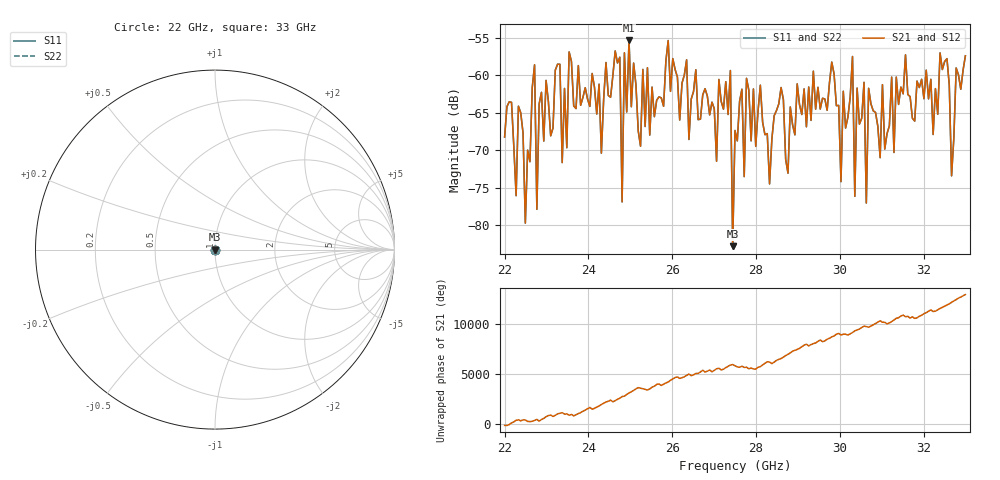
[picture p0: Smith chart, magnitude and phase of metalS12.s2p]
!Keysight Technologies,N5224B,MY57181201,A.12.70.07
!Date: Friday, July 15, 2022 12:02:34
!Correction: S11(Response(S12))
!S21(Response(S12))
!S12(Response(S12))
!S22(Response(S12))
!S2P File: Measurements: S11, S21, S12, S22:
# Hz S  dB  R 50
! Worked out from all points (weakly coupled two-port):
!   201 points, 22 GHz to 33 GHz, reference 50 ohm
!   highest |S21| = -55.32 dB at 24.97 GHz (marker M1); lowest = -82.8 dB at 27.45 GHz (marker M2)
!   lowest |S11| = -82.8 dB at 27.45 GHz (marker M3), VSWR 1.00, Z = 50 + j0.00198 ohm
!   |S11| at or under -10 dB: start of sweep to end of sweep
!   |S22| runs from -82.8 to -55.3 dB; largest |S21 - S12| = 0
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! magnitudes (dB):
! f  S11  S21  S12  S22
! 22 GHz  -68.2  -68.2  -68.2  -68.2
! 22.5 GHz  -79.7  -79.7  -79.7  -79.7
! 22.71 GHz  -58.6  -58.6  -58.6  -58.6
! 22.77 GHz  -77.9  -77.9  -77.9  -77.9
! 22.99 GHz  -60.7  -60.7  -60.7  -60.7
! 23.87 GHz  -62.9  -62.9  -62.9  -62.9
! 24.75 GHz  -57.6  -57.6  -57.6  -57.6
! 24.8 GHz  -76.9  -76.9  -76.9  -76.9
! 24.97 GHz  -55.3  -55.3  -55.3  -55.3
! 25.68 GHz  -62.9  -62.9  -62.9  -62.9
! 27.39 GHz  -59.3  -59.3  -59.3  -59.3
! 27.45 GHz  -82.8  -82.8  -82.8  -82.8
! 27.5 GHz  -67.3  -67.3  -67.3  -67.3
! 29.37 GHz  -59.4  -59.4  -59.4  -59.4
! 30.03 GHz  -74.2  -74.2  -74.2  -74.2
! 30.3 GHz  -57.5  -57.5  -57.5  -57.5
! 30.36 GHz  -76.1  -76.1  -76.1  -76.1
! 30.41 GHz  -61.7  -61.7  -61.7  -61.7
! 31.18 GHz  -66.7  -66.7  -66.7  -66.7
! 32.4 GHz  -57.0  -57.0  -57.0  -57.0
! 32.67 GHz  -73.4  -73.4  -73.4  -73.4
! 33 GHz  -57.4  -57.4  -57.4  -57.4
